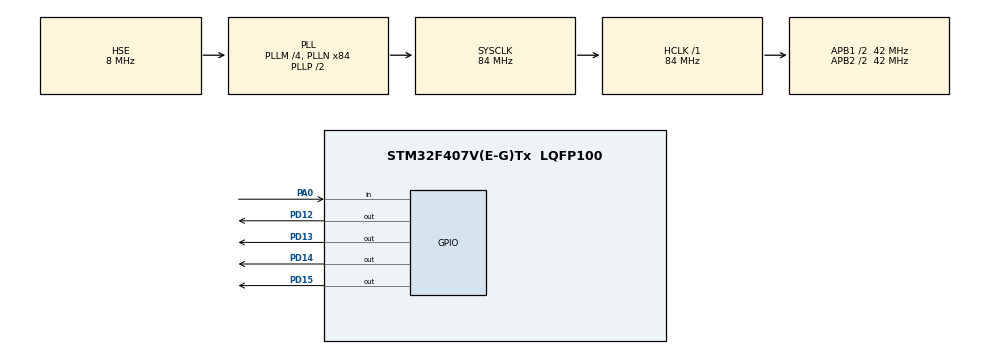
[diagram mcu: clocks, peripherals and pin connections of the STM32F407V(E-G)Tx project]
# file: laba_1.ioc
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Mcu.Family=STM32F4
Mcu.Name=STM32F407V(E-G)Tx
Mcu.Package=LQFP100
NVIC.PriorityGroup=NVIC_PRIORITYGROUP_4
PA0-WKUP.Signal=GPIO_Input
PA13.Mode=Serial_Wire
PA13.Signal=SYS_JTMS-SWDIO
PA14.Mode=Serial_Wire
PA14.Signal=SYS_JTCK-SWCLK
PD12.Signal=GPIO_Output
PD13.Signal=GPIO_Output
PD14.Signal=GPIO_Output
PD15.Signal=GPIO_Output
PH0-OSC_IN.Mode=HSE-External-Oscillator
PH0-OSC_IN.Signal=RCC_OSC_IN
PH1-OSC_OUT.Mode=HSE-External-Oscillator
PH1-OSC_OUT.Signal=RCC_OSC_OUT
ProjectManager.HeapSize=0x200
ProjectManager.StackSize=0x400
ProjectManager.TargetToolchain=STM32CubeIDE
RCC.48MHZClocksFreq_Value=42000000
RCC.AHBFreq_Value=84000000
RCC.APB1CLKDivider=RCC_HCLK_DIV2
RCC.APB1Freq_Value=42000000
RCC.APB1TimFreq_Value=84000000
RCC.APB2CLKDivider=RCC_HCLK_DIV2
RCC.APB2Freq_Value=42000000
RCC.APB2TimFreq_Value=84000000
RCC.CortexFreq_Value=84000000
RCC.HCLKFreq_Value=84000000
RCC.HSE_VALUE=8000000
RCC.HSI_VALUE=16000000
RCC.LSE_VALUE=32768
RCC.PLLM=4
RCC.PLLN=84
RCC.PLLSourceVirtual=RCC_PLLSOURCE_HSE
RCC.SYSCLKFreq_VALUE=84000000
RCC.SYSCLKSource=RCC_SYSCLKSOURCE_PLLCLK
RCC.VCOOutputFreq_Value=168000000
board=custom

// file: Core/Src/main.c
/* USER CODE BEGIN Header */
/**
  ******************************************************************************
  * @file           : main.c
  * @brief          : Main program body
  ******************************************************************************
  * @attention
  *
  * Copyright (c) 2024 STMicroelectronics.
  * All rights reserved.
  *
  * This software is licensed under terms that can be found in the LICENSE file
  * in the root directory of this software component.
  * If no LICENSE file comes with this software, it is provided AS-IS.
  *
  ******************************************************************************
  */
/* USER CODE END Header */
#include "main.h"

/* USER CODE BEGIN PV */
uint16_t leds[] = {GPIO_PIN_12, GPIO_PIN_13, GPIO_PIN_14, GPIO_PIN_15};
uint8_t mode = 0; // (0: по часовой стрелке, 1: против)
uint16_t delay = 500;
/* USER CODE END PV */

void SystemClock_Config(void);
static void MX_GPIO_Init(void);

/* USER CODE BEGIN 0 */
void toggle_led(uint8_t index) {
	HAL_GPIO_TogglePin(GPIOD, leds[index]);
	HAL_Delay(delay);
	HAL_GPIO_TogglePin(GPIOD, leds[index]);
}

uint8_t is_button_pressed(void)
{
    return HAL_GPIO_ReadPin(GPIOA, GPIO_PIN_0) == GPIO_PIN_SET;
}
/* USER CODE END 0 */

int main(void)
{

  /* MCU Configuration--------------------------------------------------------*/

  /* Reset of all peripherals, Initializes the Flash interface and the Systick. */
  HAL_Init();

  /* Configure the system clock */
  SystemClock_Config();

  /* Initialize all configured peripherals */
  MX_GPIO_Init();

  /* Infinite loop */
  while (1)
  {
    /* USER CODE BEGIN 3 */
	  if (is_button_pressed())
	  {
		  HAL_Delay(50);
		  while (is_button_pressed());

		  mode = (mode + 1) % 2;
		  delay = delay == 500 ? 200 : 500;
	  }

	  for (uint8_t i = 0; i < 4; i++)
	  {
		  toggle_led(mode == 0 ? i : 3 - i);
	  }
  }
  /* USER CODE END 3 */
}

void SystemClock_Config(void)
{
  RCC_OscInitTypeDef RCC_OscInitStruct = {0};
  RCC_ClkInitTypeDef RCC_ClkInitStruct = {0};

  /** Configure the main internal regulator output voltage
  */
  __HAL_RCC_PWR_CLK_ENABLE();
  __HAL_PWR_VOLTAGESCALING_CONFIG(PWR_REGULATOR_VOLTAGE_SCALE1);

  /** Initializes the RCC Oscillators according to the specified parameters
  * in the RCC_OscInitTypeDef structure.
  */
  RCC_OscInitStruct.OscillatorType = RCC_OSCILLATORTYPE_HSE;
  RCC_OscInitStruct.HSEState = RCC_HSE_ON;
  RCC_OscInitStruct.PLL.PLLState = RCC_PLL_ON;
  RCC_OscInitStruct.PLL.PLLSource = RCC_PLLSOURCE_HSE;
  RCC_OscInitStruct.PLL.PLLM = 4;
  RCC_OscInitStruct.PLL.PLLN = 84;
  RCC_OscInitStruct.PLL.PLLP = RCC_PLLP_DIV2;
  RCC_OscInitStruct.PLL.PLLQ = 4;
  if (HAL_RCC_OscConfig(&RCC_OscInitStruct) != HAL_OK)
  {
    Error_Handler();
  }

  /** Initializes the CPU, AHB and APB buses clocks
  */
  RCC_ClkInitStruct.ClockType = RCC_CLOCKTYPE_HCLK|RCC_CLOCKTYPE_SYSCLK
                              |RCC_CLOCKTYPE_PCLK1|RCC_CLOCKTYPE_PCLK2;
  RCC_ClkInitStruct.SYSCLKSource = RCC_SYSCLKSOURCE_PLLCLK;
  RCC_ClkInitStruct.AHBCLKDivider = RCC_SYSCLK_DIV1;
  RCC_ClkInitStruct.APB1CLKDivider = RCC_HCLK_DIV2;
  RCC_ClkInitStruct.APB2CLKDivider = RCC_HCLK_DIV2;

  if (HAL_RCC_ClockConfig(&RCC_ClkInitStruct, FLASH_LATENCY_2) != HAL_OK)
  {
    Error_Handler();
  }
}

static void MX_GPIO_Init(void)
{
  GPIO_InitTypeDef GPIO_InitStruct = {0};

  /* GPIO Ports Clock Enable */
  __HAL_RCC_GPIOH_CLK_ENABLE();
  __HAL_RCC_GPIOA_CLK_ENABLE();
  __HAL_RCC_GPIOD_CLK_ENABLE();

  /*Configure GPIO pin Output Level */
  HAL_GPIO_WritePin(GPIOD, GPIO_PIN_12|GPIO_PIN_13|GPIO_PIN_14|GPIO_PIN_15, GPIO_PIN_RESET);

  /*Configure GPIO pin : PA0 */
  GPIO_InitStruct.Pin = GPIO_PIN_0;
  GPIO_InitStruct.Mode = GPIO_MODE_INPUT;
  GPIO_InitStruct.Pull = GPIO_NOPULL;
  HAL_GPIO_Init(GPIOA, &GPIO_InitStruct);

  /*Configure GPIO pins : PD12 PD13 PD14 PD15 */
  GPIO_InitStruct.Pin = GPIO_PIN_12|GPIO_PIN_13|GPIO_PIN_14|GPIO_PIN_15;
  GPIO_InitStruct.Mode = GPIO_MODE_OUTPUT_PP;
  GPIO_InitStruct.Pull = GPIO_NOPULL;
  GPIO_InitStruct.Speed = GPIO_SPEED_FREQ_LOW;
  HAL_GPIO_Init(GPIOD, &GPIO_InitStruct);

}

void Error_Handler(void)
{
  __disable_irq();
  while (1)
  {
  }
}
